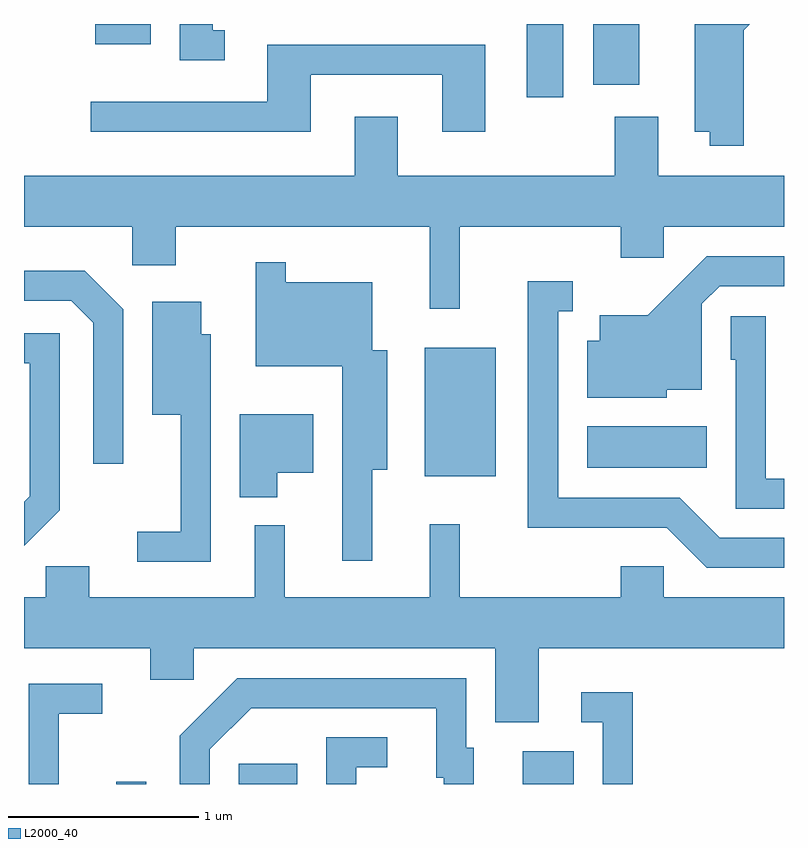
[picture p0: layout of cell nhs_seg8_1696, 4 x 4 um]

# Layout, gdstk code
import gdstk
lib = gdstk.Library(unit=1e-6, precision=1e-09)
def R(c, l, rs):  # rectangles x0, y0, x1, y1
    for r in rs: c.add(gdstk.rectangle(r[:2], r[2:], *l))
def P(c, l, *ps):  # polygons
    for p in ps: c.add(gdstk.Polygon(p, *l))
L2000_40 = (2000, 40)

nhs_seg8_1696 = lib.new_cell('nhs_seg8_1696')
R(nhs_seg8_1696, L2000_40, [(236.096,1862.342,236.254,1862.353), (236.741,1862.342,237.049,1862.449), (238.236,1862.342,238.504,1862.514), (237.721,1863.961,238.094,1864.639), (238.576,1864.006,239.204,1864.224), (238.256,1865.956,238.449,1866.342), (238.606,1866.021,238.849,1866.342), (235.986,1866.236,236.279,1866.342)])
P(nhs_seg8_1696, L2000_40, [(236.668,1866.309),(236.604,1866.309),(236.604,1866.342),(236.431,1866.342),(236.431,1866.151),(236.668,1866.151)],
  [(239.399,1866.309),(239.432,1866.342),(239.141,1866.342),(239.141,1865.776),(239.221,1865.776),(239.221,1865.701),(239.399,1865.701)],
  [(237.119,1866.076),(237.811,1866.076),(237.811,1865.776),(238.039,1865.776),(238.039,1866.234),(236.891,1866.234),(236.891,1865.934),(235.963,1865.934),(235.963,1865.776),(237.119,1865.776)],
  [(237.904,1865.276),(238.751,1865.276),(238.751,1865.111),(238.979,1865.111),(238.979,1865.276),(239.611,1865.276),(239.611,1865.544),(238.949,1865.544),(238.949,1865.854),(238.721,1865.854),(238.721,1865.544),(237.579,1865.544),(237.579,1865.854),(237.351,1865.854),(237.351,1865.544),(235.611,1865.544),(235.611,1865.276),(236.181,1865.276),(236.181,1865.071),(236.409,1865.071),(236.409,1865.276),(237.746,1865.276),(237.746,1864.843),(237.904,1864.843)],
  [(238.994,1864.416),(239.179,1864.416),(239.179,1864.869),(239.272,1864.961),(239.611,1864.961),(239.611,1865.119),(239.204,1865.119),(238.894,1864.809),(238.641,1864.809),(238.641,1864.674),(238.576,1864.674),(238.576,1864.376),(238.994,1864.376)],
  [(237.444,1863.996),(237.524,1863.996),(237.524,1864.624),(237.444,1864.624),(237.444,1864.984),(236.989,1864.984),(236.989,1865.088),(236.831,1865.088),(236.831,1864.541),(237.286,1864.541),(237.286,1863.518),(237.444,1863.518)],
  [(236.134,1864.842),(235.932,1865.044),(235.611,1865.044),(235.611,1864.886),(235.859,1864.886),(235.976,1864.769),(235.976,1864.028),(236.134,1864.028)],
  [(239.611,1863.639),(239.272,1863.639),(239.062,1863.849),(238.424,1863.849),(238.424,1864.831),(238.498,1864.831),(238.498,1864.989),(238.261,1864.989),(238.261,1863.691),(238.994,1863.691),(239.204,1863.481),(239.611,1863.481)],
  [(236.594,1864.709),(236.544,1864.709),(236.544,1864.879),(236.286,1864.879),(236.286,1864.286),(236.436,1864.286),(236.436,1863.669),(236.208,1863.669),(236.208,1863.511),(236.594,1863.511)],
  [(239.611,1863.949),(239.514,1863.949),(239.514,1864.804),(239.331,1864.804),(239.331,1864.576),(239.356,1864.576),(239.356,1863.791),(239.611,1863.791)],
  [(235.799,1863.784),(235.799,1864.714),(235.611,1864.714),(235.611,1864.556),(235.641,1864.556),(235.641,1863.857),(235.611,1863.827),(235.611,1863.595)],
  [(236.944,1863.981),(237.134,1863.981),(237.134,1864.289),(236.746,1864.289),(236.746,1863.851),(236.944,1863.851)],
  [(238.319,1863.056),(239.611,1863.056),(239.611,1863.324),(238.979,1863.324),(238.979,1863.489),(238.751,1863.489),(238.751,1863.324),(237.904,1863.324),(237.904,1863.708),(237.746,1863.708),(237.746,1863.324),(236.984,1863.324),(236.984,1863.703),(236.826,1863.703),(236.826,1863.324),(235.954,1863.324),(235.954,1863.489),(235.726,1863.489),(235.726,1863.324),(235.611,1863.324),(235.611,1863.056),(236.276,1863.056),(236.276,1862.891),(236.504,1862.891),(236.504,1863.056),(238.091,1863.056),(238.091,1862.666),(238.319,1862.666)],
  [(236.589,1862.524),(236.807,1862.741),(237.781,1862.741),(237.781,1862.376),(237.821,1862.376),(237.821,1862.342),(237.979,1862.342),(237.979,1862.534),(237.939,1862.534),(237.939,1862.899),(236.734,1862.899),(236.431,1862.597),(236.431,1862.342),(236.589,1862.342)],
  [(235.794,1862.711),(236.023,1862.711),(236.023,1862.869),(235.636,1862.869),(235.636,1862.342),(235.794,1862.342)],
  [(238.814,1862.824),(238.543,1862.824),(238.543,1862.666),(238.656,1862.666),(238.656,1862.342),(238.814,1862.342)],
  [(237.359,1862.431),(237.523,1862.431),(237.523,1862.589),(237.201,1862.589),(237.201,1862.342),(237.359,1862.342)])

lib.write_gds('nhs_seg8_1696.gds')
